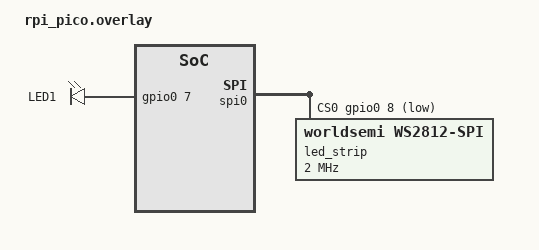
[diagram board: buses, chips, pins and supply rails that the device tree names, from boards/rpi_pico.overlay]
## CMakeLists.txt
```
# SPDX-License-Identifier: Apache-2.0

cmake_minimum_required(VERSION 3.20.0)
find_package(Zephyr REQUIRED HINTS $ENV{ZEPHYR_BASE})
project(blinky)

target_sources(app PRIVATE src/main.c)
target_sources(app PRIVATE src/thread-led.c)
target_sources(app PRIVATE src/pulse-v1-syserr.c)
target_sources(app PRIVATE src/data-model-stage1.c)
target_sources(app PRIVATE src/readings-set.c)
```

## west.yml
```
manifest:
  remotes:
    - name: zephyrproject-rtos
      url-base: https://github.com/zephyrproject-rtos
  projects:
    - name: zephyr
      repo-path: zephyr
      remote: zephyrproject-rtos
##      revision: v3.1.0       # . . . switching to commit which corrects not-linked RPi Pico bootloader, Zephyr issue #46616:
##      revision: 30736644c61ff9a6a52ea052f453da58bbda8f33  # FATAL ERROR: command exited with status 128: rev-parse '30736644c61ff9a6a52ea052f453da58bbda8f33^{commit}'
##      revision: v3.1.0-rc3   # . . . booloader not linked problem appears present in this Zephyr tagged commit - TMH
##      Issue of not linked RPi Pico bootloader reported on 2022-06-15, June 15.

##      revision: a150c7ee77687d543b903ea9008754da7415f4b5

      revision: d82c10f1975c8a135cb9ce9a5430717edb715cad

      import: true
    # Drivers repository
    - name: zephyr-driver-work-v2
      path: kionix-drivers
      revision: main
      url: https://github.com/tedhavelka/zephyr-driver-work-v2
#      import: true   ...2021-08-26 for some reason this should be commented out - TMH
  self:
    # This repository should be cloned to 
    path: rpi-pico-zephyr-exploration
```

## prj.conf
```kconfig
##======================================================================
##
##  Project:  RP2040 Exploration
##
##======================================================================


CONFIG_LOG=y


CONFIG_GPIO=y


# NEWLIB C
CONFIG_NEWLIB_LIBC=y
CONFIG_NEWLIB_LIBC_FLOAT_PRINTF=y

# Calls to snprintf() with floating point format specifier crashes code,
#  so trying increase in initialization and main thread stack size:
CONFIG_MAIN_STACK_SIZE=2048


# 2022-08-05 FRI
# https://docs.zephyrproject.org/latest/samples/drivers/led_ws2812/README.html
# https://docs.zephyrproject.org/latest/kconfig.html#CONFIG_WS2812_STRIP_GPIO
CONFIG_LED_STRIP=y
CONFIG_WS2812_STRIP=y
CONFIG_SPI=y
CONFIG_LED_STRIP_LOG_LEVEL_DBG=y
# CONFIG_WS2812_STRIP_DRIVER=y    <-- not a defined Kconfig symbol - TMH
# CONFIG_WS2812_STRIP_GPIO=y
CONFIG_WS2812_STRIP_SPI=y


# Work to correctly pull in arm_math.h . . .
# https://devzone.nordicsemi.com/f/nordic-q-a/51656/how-to-include-math-cmsis-dsp-library-in-nrf9160

# Note RP2040 lacks hardware FPU, see https://datasheets.raspberrypi.com/rp2040/rp2040-datasheet.pdf section 2.8.3.2.
CONFIG_FPU=n

CONFIG_CMSIS_DSP=y
# Following Kconfig option needed to provide math API function arm_rfft_fast_f32():
CONFIG_CMSIS_DSP_TRANSFORM=y
```

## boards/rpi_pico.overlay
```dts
/*
 * Copyright (c) 2019, Nordic Semiconductor ASA
 *
 * SPDX-License-Identifier: Apache-2.0
 */

#include <zephyr/dt-bindings/gpio/gpio.h>
#include <zephyr/dt-bindings/led/led.h>


/* https://developer.toradex.com/linux-bsp/how-to/device-tree/device-tree-customization/ */

/*
/ {
        /delete-node/ led_0;
};
*/



// Single GPIO overlaid by TMH during early RP2040 Zephyr work:

/ {
        leds {
                compatible = "gpio-leds";
                led1: led_1 {
                        gpios = <&gpio0 7 GPIO_ACTIVE_HIGH>;
                        label = "LED1";
                };
        };

        aliases {
                led1 = &led1;
        };
};



//----------------------------------------------------------------------
// Note:  Although this firmware targets Sparkfun DEV-18288 kit, we
//  look to RPi-Pico DTS for any SPI on-chip references it contains
//  and we'll map such a SPI peripheral's data line to GPIOP0.25,
//  per schematic at:
//
//  *  https://cdn.sparkfun.com/assets/4/a/6/d/6/SparkFun_Pro_Micro_RP2040_Schematic.pdf
//
// Nordic Semi provides an index of available device bindings:
//
//  *  https://developer.nordicsemi.com/nRF_Connect_SDK/doc/1.5.1/zephyr/reference/devicetree/bindings.html
//
// One company named Synopsys evidently provides the SPI device
// binding which is implied in zephyr/boards/arm/rpi_pico/doc/index.rst:
//
//  *  https://developer.nordicsemi.com/nRF_Connect_SDK/doc/1.5.1/zephyr/reference/devicetree/bindings/snps%2Cdesignware-spi.html#snps-designware-spi
//
//
// Note:  As we develop custom device tree files we may need to create
//  more detailed device bindings files.  An example device bindings
//  file from Zephyr RTOS Project release 3.1.0 SDK is: 
//
// # ~/projects-sandbox/workspace-for-rpi/zephyr/boards/arm/nrf9160dk_nrf9160/nrf9160dk_nrf9160.yaml
//
//
//
// REF https://docs.zephyrproject.org/3.0.0/samples/drivers/led_ws2812/README.html
// REF https://github.com/zephyrproject-rtos/zephyr/blob/main/samples/drivers/led_ws2812/boards/nrf52dk_nrf52832.overlay
//----------------------------------------------------------------------




// Using as example dts from Zephyr 3.1.0 zephyr/dts/arm/rpi_pico/rp2040.dtsi
// and file zephyr/dts/arm/nordic/nrf52840.dtsi
// and rp2040-datasheet.pdf:

#include <zephyr/dt-bindings/spi/spi.h>

/ {
        soc {
                spi0: spi@0x4003c000 {
/*
                        compatible = "nordic,nrf-spim";
                        #address-cells = <1>;
                        #size-cells = <0>;
                        reg = <0x40003000 0x1000>;
                        interrupts = <3 NRF_DEFAULT_IRQ_PRIORITY>;
                        status = "disabled";
                        label = "SPI_0";
*/
                        compatible = "snps,designware-spi";
                        #address-cells = <1>;
                        #size-cells = <0>;
                        reg = <0x4003c000 0x1000>;
                        interrupts = <4 RPI_PICO_DEFAULT_IRQ_PRIORITY>;
                        status = "disabled";
                        label = "SPI_0";
                };
        };
};



/*
 *  2022-08-11 - Attempt to add SPI on-chip-RP2040 peripheral to RPi Pico primary dts file: - TMH
 */

&spi0 {
        compatible = "snps,designware-spi";
        status = "okay";
        cs-gpios = <&gpio0 8 GPIO_ACTIVE_LOW>;
        pinctrl-0 = <&spi0_default>;
/*        pinctrl-1 = <&spi0_sleep>; */
        pinctrl-names = "default", "sleep";
};




&spi0 { /* MOSI on P0.25 as this GPIO of the RP2040 based DEV-18288 kit connects to DIN of WS2812 led strip device */
	compatible = "snps,designware-spi";
	led_strip: ws2812@0 {
		compatible = "worldsemi,ws2812-spi";

		/* SPI */
		reg = <0>; /* ignored, but necessary for SPI bindings */
		spi-max-frequency = <2000000>; /* <SPI_FREQ>; */

		/* WS2812 */
		chain-length = <1>; /* arbitrary; change at will */
		color-mapping = <LED_COLOR_ID_GREEN
				 LED_COLOR_ID_RED
				 LED_COLOR_ID_BLUE>;
		spi-one-frame = <ONE_FRAME>;
		spi-zero-frame = <ZERO_FRAME>;
	};
};

/ {
	aliases {
		led-strip = &led_strip;
	};
};
```

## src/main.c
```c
/*
 * Copyright (c) 2016 Intel Corporation
 *
 * SPDX-License-Identifier: Apache-2.0
 */



//----------------------------------------------------------------------
// - SECTION - includes, NEED to review line by line which are needed - TMH
//----------------------------------------------------------------------

#include <errno.h>
#include <string.h>
#define LOG_LEVEL 4
#include <zephyr/logging/log.h>
LOG_MODULE_REGISTER(main);


#include <zephyr/zephyr.h>
#include <zephyr/drivers/gpio.h>
#include <zephyr/device.h>

#include <zephyr/drivers/led_strip.h>   // to provide ...

// 2022-08-04 added for simple factoring during early UART tests:
#include "main.h"
#include "development-defines.h"
#include "thread-led.h"

#include "pulse-v1-axis-sel.h"     // to provide AXIS_X and related
#include "readings-set.h"
#include "data-model-stage1.h"



//----------------------------------------------------------------------
// - SECTION - defines
//----------------------------------------------------------------------

// 1000 msec = 1 sec
#define SLEEP_TIME_MS   750 // 1000

// The devicetree node identifier for the "led0" alias.
#define LED0_NODE DT_ALIAS(led0)


#define MARK_CYCLE_LENGTH 6


/*
 * A build error on this line means your board is unsupported.
 * See the sample documentation for information on how to fix this.
 */

#ifdef DEV_0805_KEEP_BLINKY_CODE_ENABLED
static const struct gpio_dt_spec led = GPIO_DT_SPEC_GET(LED0_NODE, gpios);
#endif


#ifdef DEV_0805__WS2812_BRING_UP_WORK_ON_RP2040

// --- DEV BEGIN :: WS2812 test ---
//
// Source file:  ~/projects-sandbox/workspace-for-rpi/zephyr/samples/drivers/led_ws2812/src/main.c

#define STRIP_NODE              DT_ALIAS(led_strip)
#define STRIP_NUM_PIXELS        DT_PROP(DT_ALIAS(led_strip), chain_length)

#define DELAY_TIME K_MSEC(50)

#define RGB(_r, _g, _b) { .r = (_r), .g = (_g), .b = (_b) }

static const struct led_rgb colors[] = { 
        RGB(0x0f, 0x00, 0x00), /* red */
        RGB(0x00, 0x0f, 0x00), /* green */
        RGB(0x00, 0x00, 0x0f), /* blue */
};

struct led_rgb pixels[STRIP_NUM_PIXELS];

static const struct device *strip = DEVICE_DT_GET(STRIP_NODE);

// --- DEV END :: WS2812 test ---
#endif // DEV_0805__WS2812_BRING_UP_WORK_ON_RP2040



//----------------------------------------------------------------------
// - SECTION - routines
//----------------------------------------------------------------------

void main(void)
{
    int ret;

    static uint32_t routine_main_iterations = 0;

#if 1 //
    uint32_t count_for_mark_messages = 0;


    char lbuf[SIZE_OF_TEN_BYTES] = { 0 };

    if (!device_is_ready(led.port)) {
        return;
    }

    ret = gpio_pin_configure_dt(&led, GPIO_OUTPUT_ACTIVE);
    if (ret < 0) {
        return;
    }


    memset(lbuf, 0, SIZE_OF_TEN_BYTES);

// NEED to capture return value from this routine call:
    thread_led__initialize();

// To support vRMS code tests:
    populate_acc_buf(AXIS_X);


    while (1)
    {
#ifdef DEV_0808__BLINK_FROM_MAIN_NOT_FROM_THREAD
        ret = gpio_pin_toggle_dt(&led);

        if (ret < 0) {
            return;
        }
#endif


// --- DEV BEGIN :: UART stuff ---
        if ( count_for_mark_messages < MARK_CYCLE_LENGTH )
        {
            count_for_mark_messages++;
        }
        else
        {
            count_for_mark_messages = 1;
            memset(lbuf, 0, SIZE_OF_TEN_BYTES);
        }
         
        memset(lbuf, '.', count_for_mark_messages);

        printk("- MARK - ( rpi work 2022-08-08 )");
        printk("%s", lbuf);
        printk("\n\r");


        if ( ( routine_main_iterations % 5 ) == 0 )
        {
            populate_acc_buf(AXIS_X);

            printk("...0809 vRMS code testing underway...\n\r");
            on_event__readings_done__calculate_vrms(AXIS_X);
        }

        routine_main_iterations++;

// --- DEV END :: UART stuff ---

//        k_msleep(SLEEP_TIME_MS);
//    }
#endif

#ifdef DEV_0805__WS2812_BRING_UP_WORK_ON_RP2040
    size_t cursor = 0, color = 0;
    int rc;

    if (device_is_ready(strip)) {
        LOG_INF("Found LED strip device %s", strip->name);
    } else {
        LOG_ERR("LED strip device %s is not ready", strip->name);
        return;
    }

    LOG_INF("Displaying pattern on strip");
    while (1) {
        memset(&pixels, 0x00, sizeof(pixels));
        memcpy(&pixels[cursor], &colors[color], sizeof(struct led_rgb));
        rc = led_strip_update_rgb(strip, pixels, STRIP_NUM_PIXELS);

        if (rc) {
            LOG_ERR("couldn't update strip: %d", rc);
        }

        cursor++;
        if (cursor >= STRIP_NUM_PIXELS) {
            cursor = 0;
            color++;
            if (color == ARRAY_SIZE(colors)) {
                color = 0;
            }
        }

        k_msleep(SLEEP_TIME_MS);
    }
#endif // DEV_0805__WS2812_BRING_UP_WORK_ON_RP2040

}



// --- EOF ---
```

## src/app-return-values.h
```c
#ifndef _RP2040_EXPLORATION_RETURN_VALUES
#define _RP2040_EXPLORATION_RETURN_VALUES



enum rp2040_exploration_return_values
{
    ROUTINE_OK = 0,

// related to module "readings set":
    RS_ACCELEROMETER_READINGS_SET_FILLED,
    RS_ACCELEROMETER_READINGS_SET_FILLED_PARTLY,
    RS_ACCELEROMETER_READINGS_SET_EMPTY,
    RS_ACCELEROMETER_READINGS_SET_NOT_READY,
    RS_STORE_READINGS_CALLED_BUT_NONE_WRITTEN,

    COUNT_OF_RETURN_VALUES
};



#endif // _RP2040_EXPLORATION_RETURN_VALUES
```

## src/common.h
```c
#ifndef _COMMON_H
#define _COMMON_H



// - - - - - - - - - - - - - - - - - - - - - - - - - - - - - - - - - - -
// COMMON APP ENTITY:  basic logic symbols
// - - - - - - - - - - - - - - - - - - - - - - - - - - - - - - - - - - -

#ifndef TRUE
#define TRUE 1
#endif

#ifndef FALSE
#define FALSE 0
#endif



// - - - - - - - - - - - - - - - - - - - - - - - - - - - - - - - - - - -
// COMMON APP ENTITY:  labels for Boolean values
// - - - - - - - - - - - - - - - - - - - - - - - - - - - - - - - - - - -

enum flag_event_e
{
    FLAG_CLEARED = 0,
    FLAG_SET
};

#define VALUE_OF_FLAG_SET     FLAG_SET
#define VALUE_OF_FLAG_CLEARED FLAG_CLEARED

#define SET_FLAG   VALUE_OF_FLAG_SET
#define CLEAR_FLAG VALUE_OF_FLAG_CLEARED



// - - - - - - - - - - - - - - - - - - - - - - - - - - - - - - - - - - -
// COMMON APP ENTITY:  TIME PERIODS
// - - - - - - - - - - - - - - - - - - - - - - - - - - - - - - - - - - -

#define ONE_MILLISECOND (1000)


// - - - - - - - - - - - - - - - - - - - - - - - - - - - - - - - - - - -
// COMMON APP ENTITY:  IIS2DH accelerometer x,y,z readings defines
// - - - - - - - - - - - - - - - - - - - - - - - - - - - - - - - - - - -

#define BYTES_PER_READING (2)
#define READINGS_PER_TRIPLET (3)
#define BYTES_PER_XYZ_READINGS_TRIPLET ( BYTES_PER_READING * READINGS_PER_TRIPLET )

struct acc_reading_triplet
{
    uint16_t x;
    uint16_t y;
    uint16_t z;
};



// - - - - - - - - - - - - - - - - - - - - - - - - - - - - - - - - - - -
// COMMON APP ENTITY:  output line and data formatting
// - - - - - - - - - - - - - - - - - - - - - - - - - - - - - - - - - - -

// 2022-02-22 Note, for some reason terminal emulator `minicom` overwrites
//  present line when Pulse Pro writes to minicom's connected UART
//  and formats line endings with '\n' alone.  This problem is solved
//  by providing line endings with a newline character followed by
//  a carriage return \r.  This line termination however creates double
//  spaced output in terminal emulator . . . ask Josh which terminal
//  emulator he using - TMH
//
//  Following defines created to allow for easier switching between
//  terminal emulators.  In the future a CLI command can be added to
//  allow developers to change line end formatting while firmware is
//  running:

#define ONE_NEWLINE_COMPATIBLE_WITH_MINICOM "\n\r"
#define TWO_NEWLINES_COMPATIBLE_WITH_MINICOM "\n\r\n\r"

#define ONE_NEWLINE ONE_NEWLINE_COMPATIBLE_WITH_MINICOM
#define TWO_NEWLINES TWO_NEWLINES_COMPATIBLE_WITH_MINICOM


// - - - - - - - - - - - - - - - - - - - - - - - - - - - - - - - - - - -
// COMMON APP ENTITY:  macros to compact repetitive and or verbose code
// - - - - - - - - - - - - - - - - - - - - - - - - - - - - - - - - - - -

/*
 *----------------------------------------------------------------------
 * @Brief   Following macro used in command line parsing.  Checks
 *          whether selected argument from lateset command line input
 *          matches a particular string.
 *----------------------------------------------------------------------
 */

//#include "thread-simple-cli.h"

// NOTE variables for macro (this may not work depending on macro expansion - TMH):
//uint32_t match = 0;
//char argument[SUPPORTED_ARG_LENGTH];

// "zph_" means "Place Holder" for variables which are normally declared
// at a routine scope:

#define ZCHECK_IF_DECIMAL_AT_ARG_INDEX(n, zph_decimal_value) \
match += arg_is_decimal(n, &zph_decimal_value);

#define ZSTRNCMP_ARGUMENT(index_to_argument, pattern, up_to_byte_length, zph_argument, zph_match) \
rstatus = arg_n(index_to_argument, zph_argument); \
zph_match += strncmp(zph_argument, pattern, up_to_byte_length);

enum cli_argument_index_labels
{
    ARG_FIRST = 0,
    ARG_SECOND,
    ARG_THIRD,
    ARG_FOURTH,
    ARG_FIFTH,
    ARG_SIXTH,
    ARG_SEVENTH,
    ARG_EIGTH
};



// - - - - - - - - - - - - - - - - - - - - - - - - - - - - - - - - - - -
// COMMON APP ENTITY:  generic options
// - - - - - - - - - - - - - - - - - - - - - - - - - - - - - - - - - - -

enum pulse_pro_generic_integer_options
{
    DEFAULT_OPTION_OF_ZERO
};



#endif // _COMMON_H
```

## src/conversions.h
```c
#ifndef _CONVERSIONS_H
#define _CONVERSIONS_H


// - SECTION - prototypes

float reading_in_g(const uint32_t reading_in_twos_comp, const uint32_t full_scale, const uint32_t res_in_bits);

void integer_to_binary_string(const uint32_t integer, char* string, const uint32_t str_length);


// - SECTION - defines

#define APPR_ACCELERATION_OF_GRAVITY (9.80665)

//
// 2021-11-08 - Empirically chosen scaling factor which will give three
//  decimal places for most VRMS floating point values observed this
//  week:                                                         - TMH
// - - - - - - - - - - - - - - - - - - - - - - - - - - - - - - - - - - -
#define VRMS_POWER_OF_TEN_SCALING_FOR_JSON (10000)



// In following defines 'plus one' accounts for string terminating null character, zero value:
#define BINARY_REPRESENTATION_EIGHT_BITS_AS_STRING (8 + 1)
#define BINARY_REPRESENTATION_SIXTEEN_BITS_AS_STRING (16 + 1)
#define BINARY_REPRESENTATION_THIRTY_TWO_BITS_AS_STRING (32 + 1)



#endif // _CONVERSIONS_H
```

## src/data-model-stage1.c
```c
/*
 * =====================================================================
 *
 *  @Project   Pulse Stage 1 firmware
 *
 *  @File      data-model-stage1.c
 *
 *  @Notes From project to which this file belongs, this file needs
 *     to know the following acceleration data details:
 *
 *     +  N, sample size of acceleration data set
 *
 *     +  x,y,z axes data stored in each their own uint8_t buffers
 *
 *   At first draft porting to Pulse Stage 1, the larger project
 *   defines sample size in header file readings-set.h, in symbol
 *   FULL_READINGS_SET.  Also as of first draft port x,y,z readings
 *   are stored in one buffer (one array) of readings triplets.  While
 *   not ideal the first draft VRMS calculation branch copies x-axis
 *   data to the data model's x-axis buffer.
 *
 *   TO-DO:  revamp acceleration readings stores to separate uint8_t
 *   arrays.  - TMH
 *
 *
 *  @References
 *
 *  Zephyr RTOS most precise timing value available to application code:
 *     +  2022-02-10 - https://docs.zephyrproject.org/2.6.0/reference/kernel/timing/clocks.html?highlight=k_cycle_get_32
 *
 *
 * =====================================================================
 */


//----------------------------------------------------------------------
//  References
//
//    +  https://devzone.nordicsemi.com/f/nordic-q-a/51656/how-to-include-math-cmsis-dsp-library-in-nrf9160
//----------------------------------------------------------------------



//----------------------------------------------------------------------
// - SECTION - includes
//----------------------------------------------------------------------

#include <math.h>
#include <stdbool.h>
#include <stdint.h>
#include <stdio.h>                 // to provide snprintf() when enabled in prj.conf or other Kconfig
#include <stdlib.h>
#include <time.h>


#include <kernel.h>                // to provide k_cycle_get_32()

#include <arm_math.h>

#include <sys/printk.h>            // to provide (Zephyr?) printk()
//#include "../../modules/hal/cmsis/CMSIS/DSP/Include/arm_math.h"

#include "pulse-v1-axis-sel.h"
#include "pulse-v1-syserrs.h"      // to provide Pulse V1 enumerated error symbols
#include "pulse-v1-syserr.h"       // to provide Pulse V1 error accounting

//#include "conversions.h"           // to provide JSON scaling value for VRMS results
#include "iis2dh-registers.h"
//#include "pulse-pro-return-values.h"
#include "readings-set.h"
//#include "scoreboard.h"
//#include "thread-simple-cli.h"

#include "app-return-values.h"     // to provide ROUTINE_OK and related
#include "development-defines.h"   // to provide JSON scaling value for VRMS results



#if 0 // Ted going with more directly copied code for now.
float from_acceleration_calculate_vrms(uint32_t axis)
{
// --- VAR BEGIN ---

    arm_status cmsis_math_routine_status;

    static arm_rfft_fast_instance_f32 fft_instance;

// --- VAR END ---

    if ( axis == 1 ) { }

    return 0.0;
}
#endif


//----------------------------------------------------------------------
// - SECTION - development routines
//----------------------------------------------------------------------

void show_byte_buffer(const uint8_t *callers_buffer, const uint32_t size_of_buffer)
{
#define ELEMENTS_PER_LINE (32)
#define SPACER_BETWEEN_N_ELEMENTS_N_EQUALS (8)

    printk("  ");

    for ( int i = 0; i < size_of_buffer; i++ )
    {
        if ( (i > 0) && ((i % ELEMENTS_PER_LINE) == 0) )
            { printk("\n"); }

        if ( (i > 0) && ((i % SPACER_BETWEEN_N_ELEMENTS_N_EQUALS) == 0) )
            { printk("  "); }

        printk("  %03u", callers_buffer[i]);
    }

    printk("\n\n");   // in routine show_byte_buffer()
}



//----------------------------------------------------------------------
// - SECTION - routine definitions, production routines
//----------------------------------------------------------------------

// --- CODE COPY BEGIN ---

// * * * * * * * * * * * * * * * * * * * * * * * * * * * * * * * * * * * * * * * * * * * * * * * * *
//  Code copied directly from Pulse V1 data-model.c:
// * * * * * * * * * * * * * * * * * * * * * * * * * * * * * * * * * * * * * * * * * * * * * * * * *

// (STEP 2 in code porting)

// number of samples per data set
//#define N (2048)
#define N FULL_READINGS_SET

////////////////////////////////////////////////////////////////////////////////
// raw (integer) accelerometer data buffers
////////////////////////////////////////////////////////////////////////////////
static int8_t acc_x[N];
static int8_t acc_y[N];
static int8_t acc_z[N];
static int8_t *acc_bufs[AXES] = {acc_x, acc_y, acc_z};
#define GET_AXIS_BUF(axis) (acc_bufs[axis])

 // sample freuency (units: Hz)
#define Fs (5376)

// frequency resolution (units: Hz/bin)
static float Fr = (float)Fs / (float)N;


// display control
static bool s_dbgo = true;
#define DBG s_dbgo



// (STEP 3 in code porting)

////////////////////////////////////////////////////////////////////////////////
// computation (float) data buffers (and management functions)
////////////////////////////////////////////////////////////////////////////////
#define USE_F32_BUF3 0

// buffers
static float f32_buf_1[N]; bool f32_buf_1_alloced = false;
static float f32_buf_2[N]; bool f32_buf_2_alloced = false;
#if USE_F32_BUF3
static float f32_buf_3[N]; bool f32_buf_3_alloced = false;
#endif



/*
 *  @brief Populate vRMS calculation module readings array with
 *     non-zero data for code testing and MCU fitness test purposes.
 */ 

#define FAUX_DATA_MODULO_VALUE (16)

void populate_acc_buf(uint32_t axis_identifier)
{
// local array index:
    uint32_t i = 0;

// attempt to vary sets of random data, to obtain changing vRMS result with faux data:
    static uint32_t cap_to_rand_call = 0;

    time_t t;

// Need to keep track of a little more to seed random function with
// across-calls-persistent seed:
    static uint32_t routine_call_count = 0;


//    srand((unsigned) time(&t));

    if ( routine_call_count == 0 )
    {
        srand((unsigned) time(&t));
        routine_call_count++;
    }
    else
    {
        cap_to_rand_call = ( rand() % 100 );
        srand((unsigned) cap_to_rand_call);
        cap_to_rand_call = ( rand() % 3 );
    }

    while ( i < FULL_READINGS_SET )
    {
        i++;

//        acc_bufs[AXIS_X][i] = ( ( i % FAUX_DATA_MODULO_VALUE) & 0xFF );
//        acc_bufs[AXIS_X][i] = ( ( rand() % 50 ) & 0xFF );   // all vRMS results 2^31
//        acc_bufs[AXIS_X][i] = ( ( rand() % 20 ) - 10 );     // all vRMS results 2^31
//        acc_bufs[AXIS_X][i] = ( ( rand() % 3 ) - 1 );       // all vRMS results 2^31
        acc_bufs[AXIS_X][i] = ( ( rand() % 3 ) );           // always calc' vRMS of 16334

//        acc_bufs[AXIS_X][i] = ( ( rand() % cap_to_rand_call ) );
    }

    char lbuf[SIZE_OF_160_BYTES] = { 0 };
    snprintf(lbuf, SIZE_OF_160_BYTES, "cap to rand is %u\n", cap_to_rand_call);
    printk("%s", lbuf);
}



// init buffer management
static void init_f32_bufs(void)
{
    f32_buf_1_alloced = false;
    f32_buf_2_alloced = false;
#if USE_F32_BUF3
    f32_buf_3_alloced = false;
#endif
}

// allocate a buffer
static float * alloc_f32_buf(void)
{
    if (!f32_buf_1_alloced)
    {
        f32_buf_1_alloced = true;
        return f32_buf_1;
    }
    if (!f32_buf_2_alloced)
    {
        f32_buf_2_alloced = true;
        return f32_buf_2;
    }
#if USE_F32_BUF3
    if (!f32_buf_3_alloced)
    {
        f32_buf_3_alloced = true;
        return f32_buf_3;
    }
#endif
    syserr_raise(SYSERR_ADM_ALLOC);
    return (float*)0;
}

// transfer buffer from one var to another
static float * handoff_f32_buf(float **buf)
{
    float *p = *buf;
    *buf = (float*)0;
    return p;
}

// deallocate a buffer
static void free_f32_buf(float **buf)
{
    if (*buf == f32_buf_1)
        f32_buf_1_alloced = false, *buf = (float*)0;
    else if (*buf == f32_buf_2)
        f32_buf_2_alloced = false, *buf = (float*)0;
#if USE_F32_BUF3
    else if (*buf == f32_buf_3)
        f32_buf_3_alloced = false, *buf = (float*)0;
#endif
    else
        syserr_raise(SYSERR_ADM_FREE);
}



// (STEP 4 - code from st_iis2dh.c)


////////////////////////////////////////////////////////////////////////////////
// Helper functions
////////////////////////////////////////////////////////////////////////////////

////////////////////////////////////////////////////////////////////////////////

// returns <float> square of <float> input
static float sq(float x)
{
    return x * x;
}


// returns <float> scalar absolute value (i.e. magnitude) of <float,float> complex value
static float absf_complex(float re, float im)
{
    return sqrtf(re*re + im*im);
}


// returns <float> omega value for given index (0 to N/2)
//   uses Fr (nonlocal) value
static float omega(unsigned idx)
{
    return 2.0 * PI * (float)idx * Fr;
}



// returns X-axis value (i.e. frequency) given an index (0 to N/2)
static float x_axis(unsigned idx)
{
    return (float)idx * Fr;
}



float acc_raw_to_float_mg(int16_t raw)
{
	float x = 0.0;
        uint8_t iis2dh_full_scale_setting = ACC_FULL_SCALE_16G;
        uint32_t rstatus = ROUTINE_OK;
#ifdef DEV_0808__SCOREBOARD_AVAILABLE
        rstatus = scoreboard__get_IIS2DH_CTRL_REG4_full_scale_config_bits(&iis2dh_full_scale_setting);
#endif

//	switch (GET_CR4_FS())
	switch (iis2dh_full_scale_setting)
	{
	case ACC_FULL_SCALE_2G:   // CR4_FS_2G:
		x = (float)raw * (1.0f / 16.0f);
		break;
	case ACC_FULL_SCALE_4G:   // CR4_FS_4G:
		x = (float)raw * (2.0f / 16.0f);
		break;
	case ACC_FULL_SCALE_8G:   // CR4_FS_8G:
		x = (float)raw * (4.0f / 16.0f);
		break;
	case ACC_FULL_SCALE_16G:   // CR4_FS_16G:
		x = (float)raw * (12.0f / 16.0f);
		break;
	}
	return x;
}


float acc_raw_to_float_g(int16_t raw)
{
	return acc_raw_to_float_mg(raw) / 1000.0;
}





// (STEP 1 in code porting)

// calculate vrms from acceleration data
static float calc_acc_to_vrms(unsigned axis)
{
    unsigned i, n;
    unsigned idx_10Hz, idx_1kHz;

    arm_status s;
    static arm_rfft_fast_instance_f32 fft_inst;
    float *raw_vals, *fft_inp, *fft_out, *fft, *aps, *apsd, *vpsd;
    float power_time_domain;
    float power_freq_domain;
    float vrms;
    int8_t *acc_buf = GET_AXIS_BUF(axis);

    char lbuf[SIZE_OF_160_BYTES] = { 0 };


// --- 1105 DEV BEGIN ---
// printk("Begin 1105 DEV work, acc_buf detected size is %u bytes,\n", sizeof(acc_buf));  ...pointer to array has itself size int.
#ifdef PULSE_DEV__VRMS_SHOW_RAW_DATA_BUFFER
    snprintf(lbuf, SIZE_OF_160_BYTES, "top of calc_acc_to_vrms() acc_buf holds %u bytes:\n\n", FULL_READINGS_SET);
//    printk("top of calc_acc_to_vrms() acc_buf holds:\n\n");
    printk("%s", lbuf);
    show_byte_buffer(acc_buf, 256); // FULL_READINGS_SET);
#endif

#ifdef RP2040_STUDY_SIMULATE_AXIS_X_READINGS
    printk("RP2040 study simulating AXIS_X readings,\n\n");
#else
    uint32_t rstatus = copy_x_axis_data_to(acc_buf);

    if ( rstatus != ROUTINE_OK ) { printk("Routine 'copy x axis data' returns error or warning status\n"); }
#ifdef PULSE_DEV__VRMS_SHOW_RAW_DATA_BUFFER
    printk("after copy of latest x-axis readings acc_buf holds:\n\n");
    show_byte_buffer(acc_buf, FULL_READINGS_SET);
#endif
#endif // RP2040_STUDY_SIMULATE_AXIS_X_READINGS

//    printk("returning early . . .\n\n");
//    return 0.0; 
// --- 1105 DEV END ---


    // convert samples to floats in 'g'
    raw_vals = alloc_f32_buf();
    for (i = 0; i < N; i++)
        raw_vals[i] = acc_raw_to_float_g((int16_t)acc_buf[i] << 8); // return value in units of 'g'

    // calc power time domain (for validation of Parseval’s Theorem)
    power_time_domain = 0.0;
    for (i = 0; i < N; i++)
        power_time_domain += sq(raw_vals[i]);
    power_time_domain = power_time_domain / (float)N;

    // apply Hann window function
    for (i = 0; i < N; i++)
        raw_vals[i] *= 0.5 * (1.0 - cosf(2 * PI * (float)i / (float)N));

    // Real FFT
    s = arm_rfft_fast_init_f32 // returns ARM_MATH_SUCCESS on success
        ( &fft_inst // arm_rfft_fast_instance_f32 * S -- [in,out] points to instance struct
        , (uint16_t)N // uint16_t fftLen -- [in] length of the Real Sequence (32, 64, 128, 256, 512, 1024, 2048, 4096)
        );
    fft_inp = handoff_f32_buf(&raw_vals);
    fft_out = alloc_f32_buf();
    arm_rfft_fast_f32
        ( &fft_inst // arm_rfft_fast_instance_f32 * S -- [in] points to an arm_rfft_fast_instance_f32 structure
        , fft_inp // float32_t * p -- [in] points to the input buffer
        , fft_out // float32_t * pOut -- [in] points to the output buffer
        , 0 // uint8_t ifftFlag -- [in] RFFT if flag is 0, RIFFT if flag is 1
        );
    free_f32_buf(&fft_inp);

    // unpack FFT output array, taking absolute values
    // see CMSIS docs... first two locations are real (0 and N/2), the rest are complex value pairs
    fft = alloc_f32_buf();
    fft[0] = fabsf(fft_out[0]);
    fft[N/2] = fabsf(fft_out[1]);
    for (i = 1; i < N/2; i++)
        fft[i] = absf_complex(fft_out[i*2+0], fft_out[i*2+1]);
    free_f32_buf(&fft_out);

    // normalize FFT values
    for (i = 0; i < N/2+1; i++)
        fft[i] /= (float)N;

    // acceleration power spectrum
    aps = alloc_f32_buf();
    for (i = 0; i < N/2+1; i++)
        aps[i] = 2.0 * sq(fft[i]);
    free_f32_buf(&fft);

    // calc power frequency domain (for validation of Parseval’s Theorem)
    power_freq_domain = 0.0;
    for (i = 0; i < N/2+1; i++)
        power_freq_domain += aps[i];

    // verify energy conservation (via Parseval’s Theorem)
#if 0 // - 2021-11-05 - disabled for now until determined needed - TMH
    NRF_LOG_INFO("data_model: power_time_domain=%d, power_freq_domain=%d, diff=%d"
        , (int)(power_time_domain * 1000.0)
        , (int)(power_freq_domain * 1000.0)
        , (unsigned)(fabsf(power_time_domain - power_freq_domain) * 1000.0)
        );
#endif
//    if (DBG) dbg_uart_printf("adm: power_time_domain=%.3f, power_freq_domain=%.3f, diff=%.3f, ratio=%.3f\n"
#if PULSE_DEV__SHOW_ORIGINAL_CALCULATION_SUMMARY == 1
    if (DBG) printk("adm: power_time_domain=%.3f, power_freq_domain=%.3f, diff=%.3f, ratio=%.3f\n"
        , power_time_domain
        , power_freq_domain
        , fabsf(power_time_domain - power_freq_domain)
        , (power_time_domain / power_freq_domain)
        );
#endif

    // acceleration power spectrum density
    apsd = alloc_f32_buf();
    for (i = 0; i < N/2+1; i++)
        apsd[i] = aps[i] / Fr;
    free_f32_buf(&aps);

    // bandpass filter (i.e. data selection)
    idx_10Hz = 4;
    idx_1kHz = 382;
    // num = idx_1kHz - idx_10Hz + 1;

    // velocity psd (from accel psd)
    vpsd = alloc_f32_buf();
    for (i = idx_10Hz; i <= idx_1kHz; i++)
        vpsd[i] = apsd[i] / sq(omega(i));
    free_f32_buf(&apsd);

    // convert velocity psd (from m/s^2 to in/sec^2)
    for (i = idx_10Hz; i <= idx_1kHz; i++)
        vpsd[i] *= (float)(386*386);

    // log/log integration of area under vspd curve
    vrms = 0.0;
    for (n = idx_10Hz; n <= idx_1kHz; n++)
    {
        float slope;
        // determine slope
        slope = logf(vpsd[n+1] / vpsd[n]) / logf(x_axis(n+1) / x_axis(n));
        // add to sum
        if (slope < -1.001 || slope > -0.999)
            vrms += (vpsd[n+1] * x_axis(n+1) - vpsd[n] * x_axis(n)) / (slope + 1.0);
        else
            vrms += vpsd[n] * x_axis(n) * logf(x_axis(n+1) / x_axis(n));
    }
    vrms = 2.0 * sqrtf(vrms) * 25.4; //25.4 is a in/s to mm/s, mobile app is looking for mm/s


#ifdef RP2040_STUDY_SHOW_VRMS_SUMMARY
    snprintf(lbuf, SIZE_OF_160_BYTES, "RP2040 study, calc'd vRMS of %f\n\n", vrms);
//    snprintf(lbuf, SIZE_OF_160_BYTES, "RP2040 study, calc'd (vRMS * %u) of %u\n\n", 10000, (uint32_t)(vrms * 10000));
    printk("%s", lbuf);
#endif


    //compensate for the noise in the accelerometer at close to 0 in/s
    if(vrms < 0.2) // units of mm/s
    {
        vrms = 0.0;
    }

    free_f32_buf(&vpsd);

    return vrms;

} // end routine calc_acc_to_vrms()

// --- CODE COPY END ---



// Note:  Can't prototype statically declared funcdtions so creating a
//   second development routine section here . . .

//----------------------------------------------------------------------
// - SECTION - development routines, second group
//----------------------------------------------------------------------

// static float calc_acc_to_vrms(unsigned axis)

uint32_t on_event__readings_done__calculate_vrms(uint32_t event)
{
    uint32_t axis = 0; 
    uint32_t rstatus = 0;
// --- DEV 0208 ---
    char lbuf[SIZE_OF_MESSAGE_SHORT] = {0};
    uint32_t cycle_count = 0;
// --- DEV 0208 ---

    float vrms = calc_acc_to_vrms(axis);

#ifdef DEV_0808__SCOREBOARD_AVAILABLE
    rstatus = scoreboard__set_vrms_value_in_integer_json_ready_form((uint32_t)(vrms * VRMS_POWER_OF_TEN_SCALING_FOR_JSON));

    if ( rstatus == ROUTINE_OK )
    {
        rstatus = scoreboard__update_flag(DM__VRMS_CALCULATION_COMPLETE, SET_FLAG); 
    }
#else
    printk("- DEV 0808 - calculating vRMS without scoreboard module.\n");
#endif

#if PULSE_DEV__SHOW_LATEST_VRMS_VALUE == 1
    printk("- 1105 - calculated VRMS of %f\n", vrms);
#endif
// --- DEV 0208 ---
//    snprintf(lbuf, sizeof(lbuf), "data model vRMS: %f\n\r", vrms); 
    cycle_count = k_cycle_get_32();

#ifdef RP2040_STUDY_PRINTF_FLOAT_CRASHES_FIRMWARE
    snprintf(lbuf, sizeof(lbuf), "kernel cycles at %08u, data model (vRMS * 10000): %u\n\r", cycle_count, (uint32_t)(vrms * 10000)); 
#else
    snprintf(lbuf, sizeof(lbuf), "kernel cycles at %08u, data model vRMS: %f\n\r", cycle_count, vrms); 
#endif

#if 0
    printk_cli(lbuf);
#else
    printk("%s", lbuf);
#endif
// --- DEV 0208 ---

#if PULSE_DEV__VRMS_VALUES_TO_CLI_UART == 1
    char lbuf[SIZE_OF_MESSAGE_SHORT];  // eighty characters as of 2022-02-08 - TMH
    snprintf(lbuf, "vrms:  %f\n\r", vrms);
#if 0
    printk_cli(lbuf);
#else
    printk("%s", lbuf);
#endif
#endif

// --- DEV 1205 ---
// Here test latest vrms value against present alert-able threshold, set alert accordingly:
// ...or create a test in pulse-pro-alerts.c, for better functionality factoring.
// --- DEV 1205 ---

    return 0;
}


// --- EOF ---
```

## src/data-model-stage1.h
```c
#ifndef _DATA_MODEL_STAGE1_H
#define _DATA_MODEL_STAGE1_H


uint32_t on_event__readings_done__calculate_vrms(uint32_t event);

void populate_acc_buf(uint32_t axis_identifier);


#endif // _DATA_MODEL_STAGE1_H
```

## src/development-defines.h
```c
#ifndef _RP2040_EXPLORE__DEVELOPMENT_DEFINES
#define _RP2040_EXPLORE__DEVELOPMENT_DEFINES



#define DEV_0805_KEEP_BLINKY_CODE_ENABLED
//#define DEV_0808__BLINK_FROM_MAIN_NOT_FROM_THREAD
#define DEV_0805__WS2812_BRING_UP_WORK_ON_RP2040


// Defines to support vRMS math testing without CLI, scoreboard module and
// app conversions header file:

//#define DEV_0808__SCOREBOARD_AVAILABLE

#define VRMS_POWER_OF_TEN_SCALING_FOR_JSON (10000)

#define FULL_READINGS_SET (2048)

#define SIZE_OF_160_BYTES (160)
#define SIZE_OF_MESSAGE_SHORT SIZE_OF_160_BYTES

// To support vRMS code testing:
#define PULSE_DEV__VRMS_SHOW_RAW_DATA_BUFFER
#define RP2040_STUDY_SIMULATE_AXIS_X_READINGS
#define RP2040_STUDY_SHOW_VRMS_SUMMARY
#define RP2040_STUDY_PRINTF_FLOAT_CRASHES_FIRMWARE



#endif // _RP2040_EXPLORE__DEVELOPMENT_DEFINES
```

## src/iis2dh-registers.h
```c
#ifndef _IIS2DH_REGISTERS_H
#define _IIS2DH_REGISTERS_H

//----------------------------------------------------------------------
//
//   Project:  Kionix Driver Work v2 (Zephyr RTOS sensor driver)
//
//  Repo URL:  https://github.com/tedhavelka/kionix-driver-demo
//
//      File:  iis2dh-registers.c
//
//----------------------------------------------------------------------


//----------------------------------------------------------------------
// - SECTION - IIS2DH configuration register defines
//----------------------------------------------------------------------

//
// IIS2DH_CTRL_REG1     (0x20)
// - - - - - - - - - - - - - - - - - - - - - - - - - - - - - - - - - - -

// iis2dh.pdf page 33:
// [  ODR3  |   ODR2  |  ODR1  |  ODR1  |   LPEN   |    ZEN   |    YEN   |    XEN   ]  <-- IIS2DH_CTRL_REG1
//
//  +  ODR    Output Data Rate
//  +  LPEN   Low Power Enable
//  +  ZEN    Z-axis Enable, Y-axis Enable, X-axis Enable

enum iis2dh_output_data_rates_e
{
    ODR_0_POWERED_DOWN            = ( 0 << 4 ),
    ODR_1_HZ                      = ( 1 << 4 ),
    ODR_10_HZ                     = ( 2 << 4 ),
    ODR_25_HZ                     = ( 3 << 4 ),
    ODR_50_HZ                     = ( 4 << 4 ),
    ODR_100_HZ                    = ( 5 << 4 ),
    ODR_200_HZ                    = ( 6 << 4 ),
    ODR_400_HZ                    = ( 7 << 4 ),
    ODR_1620_HZ_IN_LOW_POWER_MODE = ( 8 << 4 ),
    ODR_5376_HZ_IN_LOW_POWER_MODE = ( 9 << 4 )   // <-- note 1344 Hz in high resolution and normal power modes
};

#define LOWEST_DATA_RATE_INDEX (0)
#define HIGHEST_DATA_RATE_INDEX (9)

// Lower four bits of control register 1:
#define LOW_POWER_DISABLE                       ( 0 << 3 )
#define LOW_POWER_ENABLE                        ( 1 << 3 )
// Here select a power mode, this symbol permits pre-processor directives
// to assure High Resolution bit settable only when low power mode
// disabled:
#define POWER_MODE LOW_POWER_ENABLE

#define AXIS_Z_ENABLE                           ( 1 << 2 )
#define AXIS_Y_ENABLE                           ( 1 << 1 )
#define AXIS_X_ENABLE                           ( 1 << 0 )


// 2021-11-17 - temperature sensor in IIS2DH:
#define TEMP_CONFIG_REGISTER       (0x1F)
#define TEMP_ENABLE_1          ( 1 << 7 )
#define TEMP_ENABLE_0          ( 1 << 6 )
#define OUT_TEMP_L (0x0C)
#define OUT_TEMP_H (0x0D)



//
// IIS2DH_CTRL_REG2     (0x21)
// - - - - - - - - - - - - - - - - - - - - - - - - - - - - - - - - - - -

// HPF - HIGH PASS FILTER MODES (bits 7:6 in this iis2dh register)
#define HPF_NORMAL_RESET_BY_REG_0X26_READ       ( 0 << 6 )
#define HPF_REFERENCE_SIGNAL_FOR_FILTERING      ( 1 << 6 )
#define HPF_NORMAL_MODE                         ( 2 << 6 )
#define HPF_AUTORESET_ON_INTERRUPT_EVENT        ( 3 << 6 )
// HPFC - HIGH PASS FILTER CUT-OFF (bits 5:4, see iis2dh.pdf table 32 for cut-off frequencies)
#define HPFC_HIGH                               ( 0 << 4 )
#define HPFC_MIDDLE_HIGH                        ( 1 << 4 )
#define HPFC_MIDDLE_LOW                         ( 2 << 4 )
#define HPFC_LOW                                ( 3 << 4 )
// FDS - FILTER DATA SELECTION
#define FDS_FILTER_DATA_SELECTION_ENABLE        ( 1 << 3 )
#define FDS_FILTER_DATA_SELECTION_DISABLE            ( 0 )
// HPCLICK - HIGH PASS FILTER EN FOR CLICK FUNCTION
#define HIGH_PASS_EN_FOR_CLICK_FUNCTION         ( 1 << 2 )
#define HIGH_PASS_CLICK_DISABLE                      ( 0 )
// HIGH PASS FILTER EN FOR AOI FUNCTION ON INTERRUPT 2
#define HIGH_PASS_EN_FOR_AOI_FN_ON_INT2         ( 1 << 1 ) 
#define HIGH_PASS_AOI_INT2_DISABLE                   ( 0 )
// HIGH PASS FILTER EN FOR AOI FUNCTION ON INTERRUPT 1
#define HIGH_PASS_EN_FOR_AOI_FN_ON_INT1         ( 1 << 1 )
#define HIGH_PASS_AOI_INT1_DISABLE                   ( 0 )


//
// IIS2DH_CTRL_REG3     (0x22)
// - - - - - - - - - - - - - - - - - - - - - - - - - - - - - - - - - - -

#define FIFO_WATERMARK_INTERRUPT_ON_INT1_ENABLE ( 1 << 1 )
#define FIFO_OVERRUN_INTERRUPT_ON_INT1_ENABLE   ( 1 << 0 )


//
// IIS2DH_CTRL_REG4     (0x23)
// - - - - - - - - - - - - - - - - - - - - - - - - - - - - - - - - - - -

// Details of IIS2DH register 0x24 in iis2dh.pdf page 36 of 49, DocID027668 Rev 2:
// [   BDU  |   BLE   |   FS1  |   FS0  |    HR    |    ST1   |    ST0   |    SIM   ]  <-- IIS2DH_CTRL_REG4

#define BLOCK_DATA_UPDATE_NON_CONTINUOUS        ( 1 << 7 )
#define BLE_LSB_IN_LOWER_BYTE_IN_HIGH_RES_MODE  ( 0 << 6 )
#define BLE_MSB_IN_LOWER_BYTE_IN_HIGH_RES_MODE  ( 1 << 6 )
#define ACC_FULL_SCALE_2G                       ( 0 << 4 ) 
#define ACC_FULL_SCALE_4G                       ( 1 << 4 )
#define ACC_FULL_SCALE_8G                       ( 2 << 4 )
#define ACC_FULL_SCALE_16G                      ( 3 << 4 )

// page 16 of 49:  low power means 8-bit readings, normal power means 10-bit readings, high-resolution means 12-bit readings
//#define ACC_OPERATING_MODE_NORMAL                    ( 0 )
//#define ACC_OPERATING_MODE_HIGH_RES                  ( 1 )
//#define ACC_OPERATING_MODE_LOW_POWER                 ( 2 )
// Assure High Resolution mode disabled when per table 9, page 16 Low Power mode ENabled 
#if POWER_MODE == LOW_POWER_ENABLE
#define ACC_OPERATING_MODE_HIGH_RES                  ( 0 )
#else
#define ACC_OPERATING_MODE_HIGH_RES                  ( 1 )
#endif

// Self test
#define IIS2DH_SELF_TEST_NORMAL_MODE            ( 0 << 0 )
#define IIS2DH_SELF_TEST_0                      ( 1 << 0 )
#define IIS2DH_SELF_TEST_1                      ( 2 << 0 )
// SIM Serial Interface Mode
#define SPI_MODE_FOUR_WIRE                           ( 0 )
#define SPI_MODE_THREE_WIRE                          ( 1 )


//
// IIS2DH_CTRL_REG5     (0x24)
// - - - - - - - - - - - - - - - - - - - - - - - - - - - - - - - - - - -

// [ REBOOT | FIFO_EN |   --   |   --   | LIR_INT1 | D4D_INT1 | LIR_INT2 | D4D_INT2 ]  <-- IIS2DH_CTRL_REG5

#define FIFO_ENABLE                             ( 1 << 6 )


//
// IIS2DH_STATUS_REG (0x27)
// - - - - - - - - - - - - - - - - - - - - - - - - - - - - - - - - - - -

#define IIS2DH_XYZ_OVERRUN_FLAG                 ( 1 << 7 )
#define IIS2DH_Z_OVERRUN_FLAG                   ( 1 << 6 )
#define IIS2DH_Y_OVERRUN_FLAG                   ( 1 << 5 )
#define IIS2DH_X_OVERRUN_FLAG                   ( 1 << 4 )
#define IIS2DH_XYZ_DATA_AVAILABLE_FLAG          ( 1 << 3 )
#define IIS2DH_Z_DATA_AVAILABLE_FLAG            ( 1 << 2 )
#define IIS2DH_Y_DATA_AVAILABLE_FLAG            ( 1 << 1 )
#define IIS2DH_X_DATA_AVAILABLE_FLAG            ( 1 << 0 )

// STMicro iis2dh.pdf page 37 of 49:
#define IIS2DH_MASK_FOR_READINGS_OVERRUN_FLAGS    ( 0xF0 )


//
// IIS2DH_FIFO_CTRL_REG (0x2E)
// - - - - - - - - - - - - - - - - - - - - - - - - - - - - - - - - - - -

// [   FM1  |   FM0   |   TR   |  FTH4  |   FTH3   |   FTH2   |   FTH1   |   FTH0   ]  <-- IIS2DH_FIFO_CTRL_REG
//
//  + FM[1:0]    FIFO Mode selection - 00 Bypass, 01 FIFO, 10 Stream, 11 Stream-to-FIFO
//  + TR         Trigger selection   - 0 trigger on interrupt 1, 1 trigger on interrupt 2
//  + FTH[4:0]   ???

// FIFO MODES:
#define FIFO_MODE_BYPASS                        ( 0 << 6 )
#define FIFO_MODE_FIFO                          ( 1 << 6 )
#define FIFO_MODE_STREAM                        ( 2 << 6 )
#define FIFO_MODE_STREAM_TO_FIFO                ( 3 << 6 )
// FIFO TRIGGER INTERRUPT SELECTION:
#define FIFO_TRIGGER_ON_INT_1                   ( 0 << 5 )
#define FIFO_TRIGGER_ON_INT_2                   ( 1 << 5 )
// FIFO TRIGGER THRESHHOLD IN BITS [4:0], NOT REALLY EXPLAINED IN iis2dh.pdf - TMH
// (Can represent values from 0 to 31, number of elements the FIFO holds)
#define FIFO_TRIGGER_THRESHHOLD                      ( 0 )
 

// IIS2DH_FIFO_SRC_REG (0x2F)
#define FIFO_SRC_FSS_MASK                         ( 0x1F )
#define FIFO_SOURCE_OVERRUN                     ( 1 << 6 )



#endif // _IIS2DH_REGISTERS_H
```

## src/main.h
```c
#ifndef _MAIN_RPI_EXPLORE_WORK
#define _MAIN_RPI_EXPLORE_WORK


#define SIZE_OF_TEN_BYTES 10


#endif // _MAIN_RPI_EXPLORE_WORK
```

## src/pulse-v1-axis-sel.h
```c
////////////////////////////////////////////////////////////////////////////////
// axis_sel.h -- Axis Selection module
//
// @Note Source file from Pulse V1
////////////////////////////////////////////////////////////////////////////////

#ifndef _AXIS_SEL_H_INCLUDED_
#define _AXIS_SEL_H_INCLUDED_

#include <stdbool.h>
#include <stdint.h>

// axis indexing
typedef enum
{ AXIS_X = 0
, AXIS_Y = 1
, AXIS_Z = 2
, AXES = 3
} axis_t;

// axis selection
typedef enum
{ AXIS_SEL_NONE = 0
, AXIS_SEL_X    = (1 << AXIS_X)
, AXIS_SEL_Y    = (1 << AXIS_Y)
, AXIS_SEL_Z    = (1 << AXIS_Z)
, AXIS_SEL_XY   = (AXIS_SEL_X | AXIS_SEL_Y)
, AXIS_SEL_XZ   = (AXIS_SEL_X | AXIS_SEL_Z)
, AXIS_SEL_YZ   = (AXIS_SEL_Y | AXIS_SEL_Z)
, AXIS_SEL_XYZ  = (AXIS_SEL_X | AXIS_SEL_Y | AXIS_SEL_Z)
, AXIS_SEL_MASK = 7
} axis_sel_t;

// set axis selection
void axis_sel_set(axis_sel_t as);

// get current axis selection
axis_sel_t axis_sel_get(void);

// convert enum value to string
const char *axis_sel_to_str(axis_sel_t as);

#endif // _AXIS_SEL_H_INCLUDED_
```

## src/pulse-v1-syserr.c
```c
////////////////////////////////////////////////////////////////////////////////
// syserr.c -- System Error Accounting
//
// @Note Source file from Pulse V1
////////////////////////////////////////////////////////////////////////////////

#define _COMPILING_syserr_c_

#include "pulse-v1-syserr.h"

////////////////////////////////////////////////////////////////////////////////
static uint8_t  s_syserrs[NUM_SYSERRS]; // count of each error type, each saturates at 0xFF
static uint32_t s_syserr_cnt; // total count of reported errors, saturates at 0xFFFFFFFF
static uint8_t  s_culprits[NUM_CULPRITS]; // count of each culprit type, each saturates at 0xFF

////////////////////////////////////////////////////////////////////////////////
static void internal_clear_all(void)
{
	unsigned i;
	for ( i = 0; i < NUM_SYSERRS; i++ )
		s_syserrs[i] = 0;
	s_syserr_cnt = 0;
	for ( i = 0; i < NUM_CULPRITS; i++ )
		s_culprits[i] = 0;
}

////////////////////////////////////////////////////////////////////////////////
void syserr_init(void)
{
	internal_clear_all();
}

////////////////////////////////////////////////////////////////////////////////
void syserr_raise(syserr_t err)
{
	static uint8_t s_blink_serious = 0;

	if ( err > SYSERR_NONE && err < NUM_SYSERRS )
	{
		// increment (with saturation) individual error count
		if ( s_syserrs[err] != 0xFF )
			s_syserrs[err]++;

		// increment (with saturation) total error count
		if ( s_syserr_cnt != 0xFFFFFFFF )
			s_syserr_cnt++;
	}
}

////////////////////////////////////////////////////////////////////////////////
void syserr_assert(culprit_t culprit)
{
	if (culprit >= 0 && culprit < NUM_CULPRITS)
	{
		// increment (with saturation) individual culprit count
		if ( s_culprits[culprit] != 0xFF )
			s_culprits[culprit]++;
	}
	syserr_raise(SYSERR_ASSERT_FAIL);
}

////////////////////////////////////////////////////////////////////////////////
uint32_t syserr_total(void)
{
	return s_syserr_cnt;
}

////////////////////////////////////////////////////////////////////////////////
uint8_t syserr_check(syserr_t err)
{
	if (err == SYSERR_MAX_IDX) // same as SYSERR_NONE
		return NUM_SYSERRS - 1; // highest SYSERR index

	if ( err < NUM_SYSERRS )
		return s_syserrs[err];

	return 0;
}

////////////////////////////////////////////////////////////////////////////////
void syserr_clear_all(void)
{
	internal_clear_all();
}
```

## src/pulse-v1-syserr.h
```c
////////////////////////////////////////////////////////////////////////////////
// syserr.h -- System Error Accounting
////////////////////////////////////////////////////////////////////////////////

#ifndef _syserr_h_INCLUDED_
#define _syserr_h_INCLUDED_

#include <stdbool.h>
#include <stdint.h>

#include "pulse-v1-syserrs.h"

// application integration
// -----------------------
void syserr_init(void);  // initialize module, call once at start of application

// error reporting
// ---------------
void syserr_raise (syserr_t err);
void syserr_assert(culprit_t culprit);

// accounting access/maintenance
// -----------------------------
uint32_t syserr_total(void); // returns total count of all errors reported
uint8_t  syserr_check(syserr_t err); // returns count (upto saturation limit) of errors reported for specific type
void     syserr_clear_all(void); // clears all error counts (including total)

#endif // _syserr_h_INCLUDED_
```
